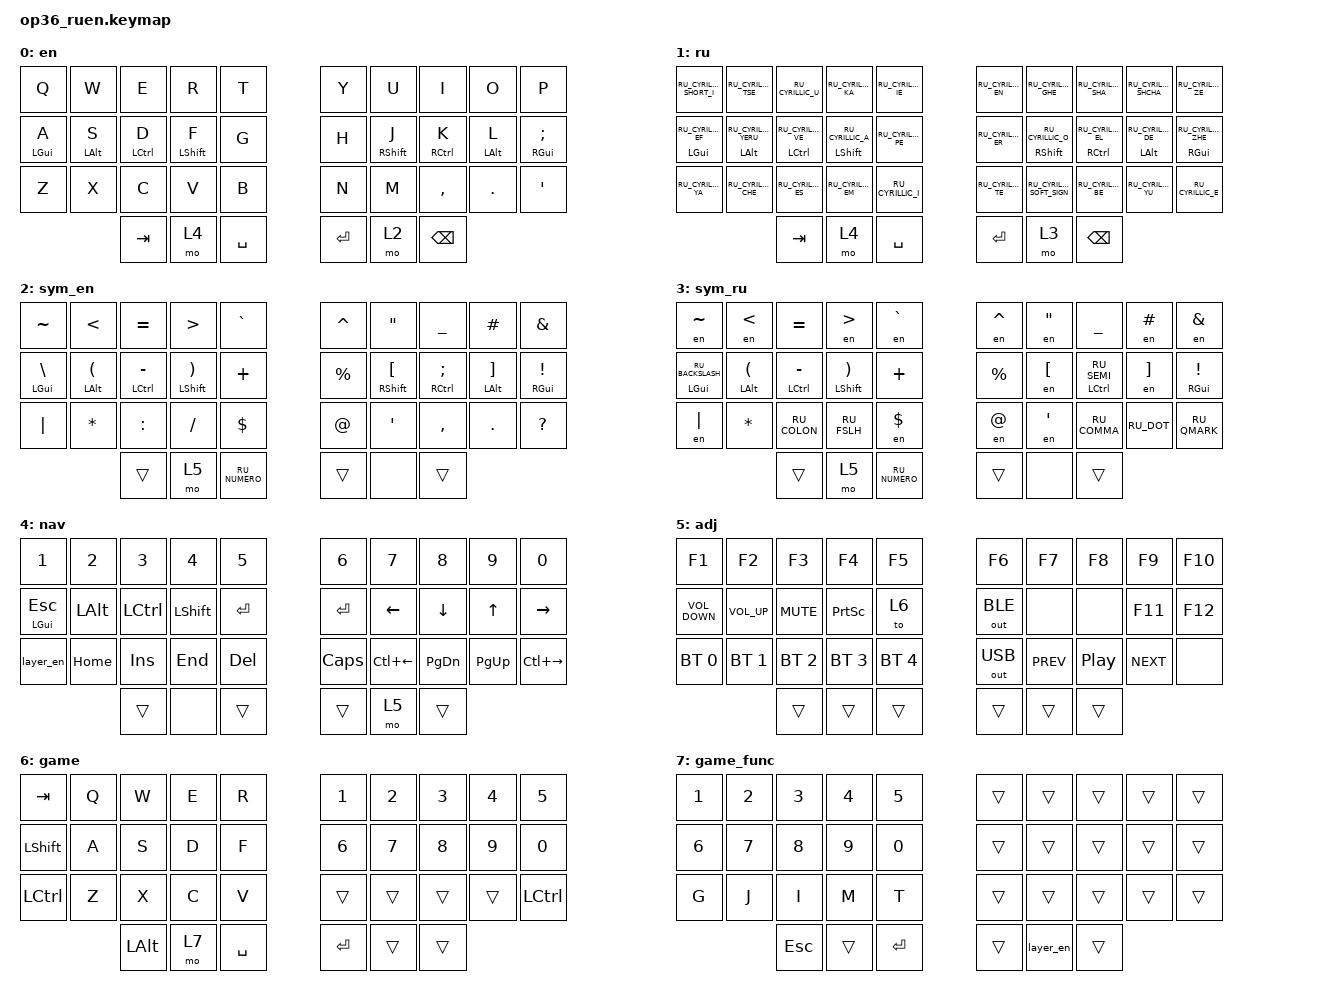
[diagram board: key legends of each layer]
#include "keys_ru.h"
#include <behaviors.dtsi>
#include <dt-bindings/zmk/bt.h>
#include <dt-bindings/zmk/keys.h>
#include <dt-bindings/zmk/outputs.h>

&mt {
    quick-tap-ms = <200>;
    flavor = "tap-preferred";
    require-prior-idle-ms = <125>;
};

/ {
    behaviors {
        hml: home_row_mod_left {
            compatible = "zmk,behavior-hold-tap";
            #binding-cells = <2>;
            flavor = "balanced";
            require-prior-idle-ms = <150>;
            tapping-term-ms = <280>;
            quick-tap-ms = <175>;
            bindings = <&kp>, <&kp>;

            hold-trigger-key-positions = <5 6 7 8 9 15 16 17 18 19 25 26 27 28 29 33 34 35>;
            hold-trigger-on-release;
        };

        hmr: home_row_mod_right {
            compatible = "zmk,behavior-hold-tap";
            #binding-cells = <2>;
            flavor = "balanced";
            require-prior-idle-ms = <150>;
            tapping-term-ms = <280>;
            quick-tap-ms = <175>;
            bindings = <&kp>, <&kp>;

            hold-trigger-key-positions = <0 1 2 3 4 10 11 12 13 14 20 21 22 23 24 30 31 32>;
            hold-trigger-on-release;
        };
    };

    combos {
        compatible = "zmk,combos";

        kha {
            bindings = <&kp LEFT_BRACKET>;
            key-positions = <26 27>;
            layers = <1>;
        };

        hrdsgn {
            bindings = <&kp RIGHT_BRACKET>;
            key-positions = <27 28>;
            layers = <1>;
        };

        cmben {
            bindings = <&layer_en>;
            key-positions = <2 3>;
            layers = <1>;
        };

        cmbru {
            bindings = <&layer_ru>;
            key-positions = <2 3>;
            layers = <0>;
        };

        cope {
            bindings = <&kp LC(C)>;
            key-positions = <21 22>;
            timeout-ms = <30>;
            require-prior-idle-ms = <30>;
        };

        paste {
            bindings = <&kp LC(V)>;
            key-positions = <22 23>;
            timeout-ms = <30>;
            require-prior-idle-ms = <30>;
        };

        undo {
            bindings = <&kp LC(Z)>;
            key-positions = <20 21>;
            timeout-ms = <30>;
            require-prior-idle-ms = <30>;
        };

        cut {
            bindings = <&kp LC(X)>;
            key-positions = <21 23>;
            timeout-ms = <30>;
            require-prior-idle-ms = <30>;
        };

        lbraceen {
            bindings = <&kp LEFT_BRACE>;
            key-positions = <12 13>;
            layers = <0>;
        };

        rbraceen {
            bindings = <&kp RIGHT_BRACE>;
            key-positions = <16 17>;
            layers = <0>;
        };

        lbraceru {
            bindings = <&en LEFT_BRACE>;
            key-positions = <12 13>;
            layers = <1>;
        };

        rbraceru {
            bindings = <&en RIGHT_BRACE>;
            key-positions = <16 17>;
            layers = <1>;
        };
    };

    macros {
        to_ru: to_ru {
            compatible = "zmk,behavior-macro";
            #binding-cells = <0>;
            bindings = <&kp LS(LC(N9))>;
            label = "TO_RU";
        };

        to_en: to_en {
            compatible = "zmk,behavior-macro";
            #binding-cells = <0>;
            bindings = <&kp LS(LC(N8))>;
            label = "TO_EN";
        };

        layer_en: layer_en {
            compatible = "zmk,behavior-macro";
            #binding-cells = <0>;
            bindings = <&to 0 &to_en>;
            label = "LAYER_EN";
        };

        layer_ru: layer_ru {
            compatible = "zmk,behavior-macro";
            #binding-cells = <0>;
            bindings = <&to 1 &to_ru>;
            label = "LAYER_RU";
        };

        en: en {
            compatible = "zmk,behavior-macro-one-param";
            #binding-cells = <1>;
            bindings = <&to_en &macro_param_1to1 &kp MACRO_PLACEHOLDER &to_ru>;
            label = "EN";
        };
    };

    keymap {
        compatible = "zmk,keymap";

        en {
            bindings = <
  &kp Q        &kp W        &kp E         &kp R          &kp T                          &kp Y  &kp U          &kp I                 &kp O        &kp P
  &hml LGUI A  &hml LALT S  &hml LCTRL D  &hml LSHIFT F  &kp G                          &kp H  &hmr RSHIFT J  &hmr RIGHT_CONTROL K  &hmr LALT L  &hmr RGUI SEMICOLON
  &kp Z        &kp X        &kp C         &kp V          &kp B                          &kp N  &kp M          &kp COMMA             &kp DOT      &kp SQT
                                          &kp TAB        &mo 4  &kp SPACE    &kp ENTER  &mo 2  &kp BACKSPACE
            >;
        };

        ru {
            bindings = <
  &kp RU_CYRILLIC_SHORT_I   &kp RU_CYRILLIC_TSE         &kp RU_CYRILLIC_U          &kp RU_CYRILLIC_KA        &kp RU_CYRILLIC_IE                          &kp RU_CYRILLIC_EN  &kp RU_CYRILLIC_GHE        &kp RU_CYRILLIC_SHA        &kp RU_CYRILLIC_SHCHA     &kp RU_CYRILLIC_ZE
  &hml LGUI RU_CYRILLIC_EF  &hml LALT RU_CYRILLIC_YERU  &hml LCTRL RU_CYRILLIC_VE  &hml LSHFT RU_CYRILLIC_A  &kp RU_CYRILLIC_PE                          &kp RU_CYRILLIC_ER  &hmr RSHIFT RU_CYRILLIC_O  &hmr RCTRL RU_CYRILLIC_EL  &hmr LALT RU_CYRILLIC_DE  &hmr RGUI RU_CYRILLIC_ZHE
  &kp RU_CYRILLIC_YA        &kp RU_CYRILLIC_CHE         &kp RU_CYRILLIC_ES         &kp RU_CYRILLIC_EM        &kp RU_CYRILLIC_I                           &kp RU_CYRILLIC_TE  &kp RU_CYRILLIC_SOFT_SIGN  &kp RU_CYRILLIC_BE         &kp RU_CYRILLIC_YU        &kp RU_CYRILLIC_E
                                                                                   &kp TAB                   &mo 4               &kp SPACE    &kp ENTER  &mo 3               &kp BACKSPACE
            >;
        };

        sym_en {
            bindings = <
  &kp TILDE       &kp LT          &kp EQUAL         &kp GT            &kp GRAVE                            &kp CARET  &kp DQT                  &kp UNDER        &kp HASH                 &kp AMPERSAND
  &hml LGUI BSLH  &hml LALT LPAR  &hml LCTRL MINUS  &hml LSHIFT RPAR  &kp PLUS                             &kp PRCNT  &hmr RSHFT LEFT_BRACKET  &hmr RCTRL SEMI  &hmr LALT RIGHT_BRACKET  &hmr RGUI EXCL
  &kp PIPE        &kp STAR        &kp COLON         &kp FSLH          &kp DOLLAR                           &kp AT     &kp SQT                  &kp COMMA        &kp DOT                  &kp QMARK
                                                    &trans            &mo 5       &kp RU_NUMERO    &trans  &none      &trans
            >;
        };

        sym_ru {
            bindings = <
  &en TILDE               &en LT          &kp EQUAL         &en GT            &en GRAVE                            &en CARET  &en DQT           &kp UNDER           &en HASH           &en AMPERSAND
  &hml LGUI RU_BACKSLASH  &hml LALT LPAR  &hml LCTRL MINUS  &hml LSHIFT RPAR  &kp PLUS                             &kp PRCNT  &en LEFT_BRACKET  &hmr LCTRL RU_SEMI  &en RIGHT_BRACKET  &hmr RGUI EXCL
  &en PIPE                &kp STAR        &kp RU_COLON      &kp RU_FSLH       &en DOLLAR                           &en AT     &en SQT           &kp RU_COMMA        &kp RU_DOT         &kp RU_QMARK
                                                            &trans            &mo 5       &kp RU_NUMERO    &trans  &none      &trans
            >;
        };

        nav {
            bindings = <
  &kp N1         &kp N2    &kp N3     &kp N4      &kp N5                        &kp N6     &kp N7        &kp N8     &kp N9     &kp N0
  &hml LGUI ESC  &kp LALT  &kp LCTRL  &kp LSHIFT  &kp ENTER                     &kp ENTER  &kp LEFT      &kp DOWN   &kp UP     &kp RIGHT
  &layer_en      &kp HOME  &kp INS    &kp END     &kp DELETE                    &kp CAPS   &kp LC(LEFT)  &kp PG_DN  &kp PG_UP  &kp LC(RIGHT)
                                      &trans      &none       &trans    &trans  &mo 5      &trans
            >;
        };

        adj {
            bindings = <
  &kp F1             &kp F2           &kp F3        &kp F4           &kp F5                          &kp F6        &kp F7      &kp F8    &kp F9      &kp F10
  &kp C_VOLUME_DOWN  &kp C_VOLUME_UP  &kp C_MUTE    &kp PRINTSCREEN  &to 6                           &out OUT_BLE  &none       &none     &kp F11     &kp F12
  &bt BT_SEL 0       &bt BT_SEL 1     &bt BT_SEL 2  &bt BT_SEL 3     &bt BT_SEL 4                    &out OUT_USB  &kp C_PREV  &kp C_PP  &kp C_NEXT  &none
                                                    &trans           &trans        &trans    &trans  &trans        &trans
            >;
        };

        game {
            bindings = <
  &kp TAB    &kp Q  &kp W  &kp E     &kp R                          &kp N1  &kp N2  &kp N3  &kp N4  &kp N5
  &kp LSHFT  &kp A  &kp S  &kp D     &kp F                          &kp N6  &kp N7  &kp N8  &kp N9  &kp N0
  &kp LCTRL  &kp Z  &kp X  &kp C     &kp V                          &trans  &trans  &trans  &trans  &kp LEFT_CONTROL
                           &kp LALT  &mo 7  &kp SPACE    &kp ENTER  &trans  &trans
            >;
        };

        game_func {
            bindings = <
  &kp N1  &kp N2  &kp N3  &kp N4   &kp N5                       &trans     &trans  &trans  &trans  &trans
  &kp N6  &kp N7  &kp N8  &kp N9   &kp N0                       &trans     &trans  &trans  &trans  &trans
  &kp G   &kp J   &kp I   &kp M    &kp T                        &trans     &trans  &trans  &trans  &trans
                          &kp ESC  &trans  &kp ENTER    &trans  &layer_en  &trans
            >;
        };
    };
};
